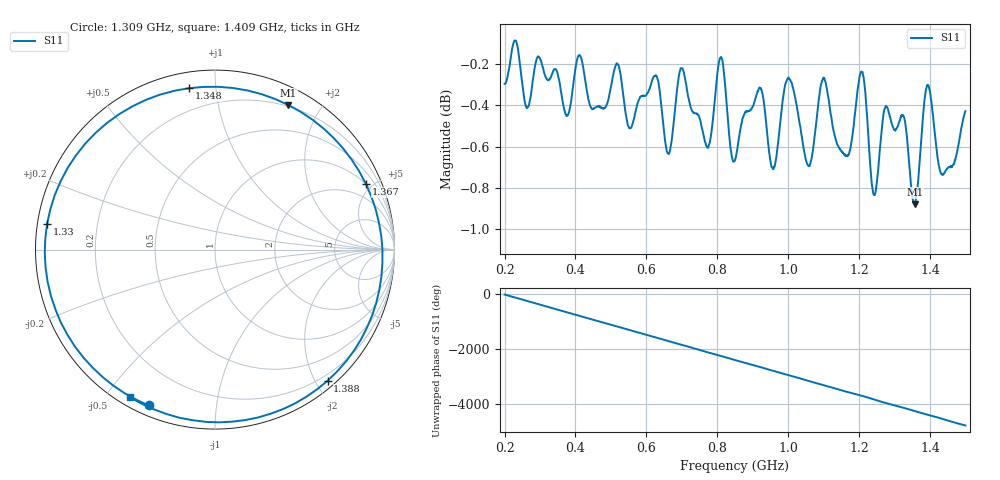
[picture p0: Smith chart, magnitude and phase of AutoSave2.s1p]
!Agilent N9923A: A.05.17
!Date: Sunday, 01 January 2006 12:22:13
!Model: N9923A
!Serial: MY50371189
!CHECKSUM:1827783542
!Correction: S11(ON U)
!S1P File: Measurement: S11:
# Hz S RI R 50
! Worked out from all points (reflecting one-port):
!   1001 points, 200 MHz to 1.5 GHz, reference 50 ohm
!   lowest |S11| = -0.9 dB at 1.357 GHz (marker M1), VSWR 19.74, Z = 9.18 + j80.6 ohm
!   phase of S11 starts at -13 deg and turns -4763 deg over the sweep
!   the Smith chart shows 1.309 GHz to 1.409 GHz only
!   S11 on the Smith chart (normalised r, x): 1.309 GHz: 0.04, -0.66; 1.33 GHz: 0.03, +0.08; 1.348 GHz: 0.08, +0.85; 1.367 GHz: 1.00, +4.59; 1.388 GHz: 0.11, -2.17; 1.409 GHz: 0.03, -0.58
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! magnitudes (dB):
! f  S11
! 200 MHz  -0.3
! 362.5 MHz  -0.4
! 525 MHz  -0.2
! 553.6 MHz  -0.5
! 627.7 MHz  -0.3
! 661.5 MHz  -0.6
! 687.5 MHz  -0.3
! 773.3 MHz  -0.6
! 811 MHz  -0.2
! 850 MHz  -0.7
! 920.2 MHz  -0.3
! 959.2 MHz  -0.7
! 1.012 GHz  -0.3
! 1.055 GHz  -0.7
! 1.1 GHz  -0.3
! 1.175 GHz  -0.6
! 1.206 GHz  -0.2
! 1.241 GHz  -0.8
! 1.309 GHz  -0.5
! 1.33 GHz  -0.5
! 1.337 GHz  -0.6
! 1.348 GHz  -0.8
! 1.357 GHz  -0.9
! 1.367 GHz  -0.8
! 1.388 GHz  -0.3
! 1.409 GHz  -0.5
! 1.436 GHz  -0.7
! 1.5 GHz  -0.4
